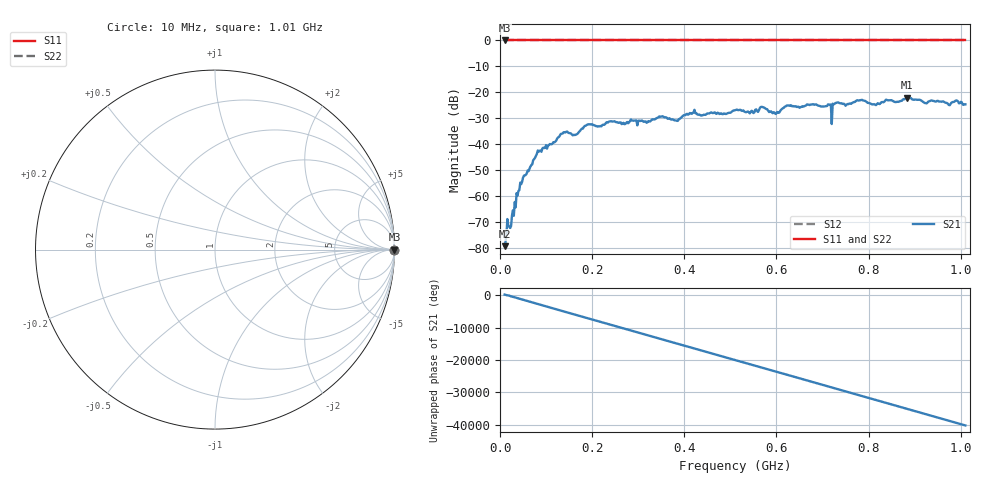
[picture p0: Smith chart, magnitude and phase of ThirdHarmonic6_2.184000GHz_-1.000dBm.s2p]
! 8/17/2025 2:02:57 AM
! C:\ANRITSUVNA\TEMP\TEMP.S2P
! CHANNEL.1
! TR.MEASUREMENT
! RAW.DATA
! RF.CORRECTION.OFF
! AVERAGING.OFF
! IF.BANDWIDTH: 5KHZ
! SWEEPTYPE:  FREQ.SWEEP(Linear)
! Reference Plane Port Info
! PORT:  PORT1  PORT2
! DISTANCE:  0  m  0  m
! TIME:  0  s  0  s
! PHASE.OFFSET:  0  deg.  0  deg.
! LOSS:  0  dB  0  dB
! REF.LOSS:  0  dB  0  dB
! REF.FREQ:  0  Hz  0  Hz
! Power Info
! POWER:  -20  dBm  -20  dBm
! EFF.POWER:  -20  dBm  -20  dBm
! SOURCE.ATTEN:  0  dB  0  dB
! TEST.ATTEN:  0  dB  0  dB
# GHZ S RI R 50.0
! FREQ.GHZ  S11RE  S11IM  S21RE  S21IM  S12RE  S12IM  S22RE  S22IM
!; PortSelection: Port_12
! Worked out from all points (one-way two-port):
!   501 points, 10 MHz to 1.01 GHz, reference 50 ohm
!   highest |S21| = -22.01 dB at 884 MHz (marker M1); lowest = -79.2 dB at 10 MHz (marker M2)
!   lowest |S11| = 0.0 dB at 10 MHz (marker M3)
!   |S11| at or under -10 dB: nowhere
!   |S22| runs from 0.0 to 0.0 dB; largest |S21 - S12| = 1.1
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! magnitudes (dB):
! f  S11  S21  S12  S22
! 10 MHz  0.0  -79.2  0.0  0.0
! 48 MHz  0.0  -54.4  0.0  0.0
! 82 MHz  0.0  -42.3  0.0  0.0
! 136 MHz  0.0  -35.8  0.0  0.0
! 162 MHz  0.0  -36.4  0.0  0.0
! 178 MHz  0.0  -33.9  0.0  0.0
! 344 MHz  0.0  -29.6  0.0  0.0
! 382 MHz  0.0  -30.8  0.0  0.0
! 418 MHz  0.0  -27.9  0.0  0.0
! 510 MHz  0.0  -26.9  0.0  0.0
! 546 MHz  0.0  -27.1  0.0  0.0
! 570 MHz  0.0  -25.7  0.0  0.0
! 602 MHz  0.0  -27.5  0.0  0.0
! 624 MHz  0.0  -25.0  0.0  0.0
! 678 MHz  0.0  -24.6  0.0  0.0
! 716 MHz  0.0  -24.8  0.0  0.0
! 732 MHz  0.0  -23.9  0.0  0.0
! 784 MHz  0.0  -22.9  0.0  0.0
! 812 MHz  0.0  -24.6  0.0  0.0
! 844 MHz  0.0  -23.0  0.0  0.0
! 884 MHz  0.0  -22.0  0.0  0.0
! 1.01 GHz  0.0  -24.6  0.0  0.0
